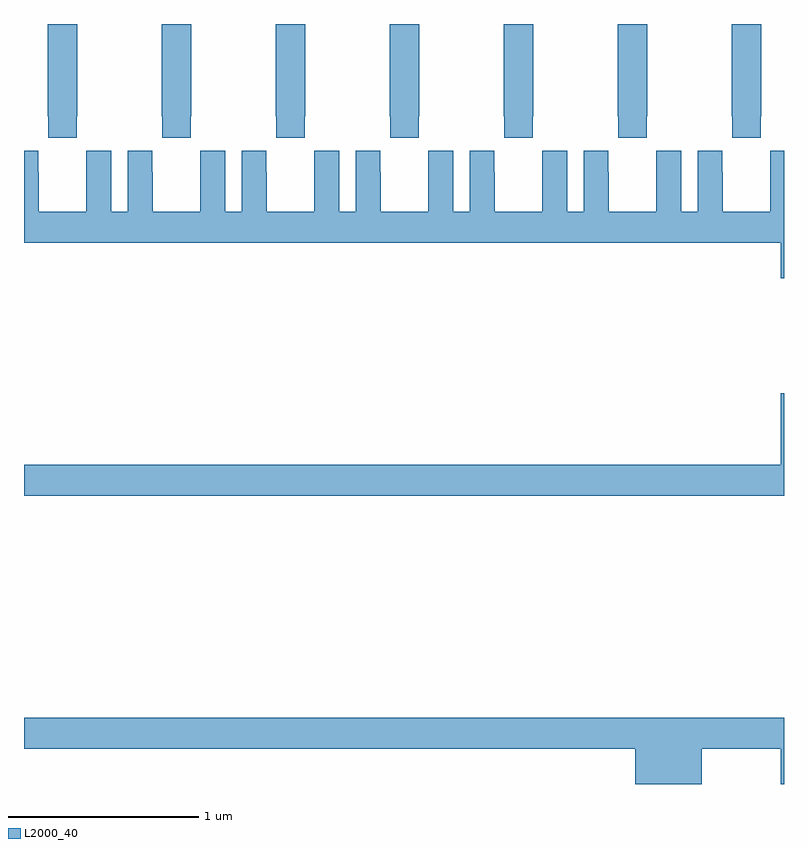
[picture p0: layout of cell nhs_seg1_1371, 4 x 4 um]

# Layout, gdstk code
import gdstk
lib = gdstk.Library(unit=1e-6, precision=1e-09)
def P(c, l, *ps):  # polygons
    for p in ps: c.add(gdstk.Polygon(p, *l))
L2000_40 = (2000, 40)

nhs_seg1_1371 = lib.new_cell('nhs_seg1_1371')
P(nhs_seg1_1371, L2000_40, [(188.877,569.713),(188.88,569.713),(188.88,570.199),(188.725,570.199),(188.725,569.713),(188.727,569.713),(188.727,569.601),(188.877,569.601)],
  [(188.277,569.713),(188.28,569.713),(188.28,570.199),(188.125,570.199),(188.125,569.713),(188.127,569.713),(188.127,569.601),(188.277,569.601)],
  [(185.277,569.713),(185.28,569.713),(185.28,570.199),(185.125,570.199),(185.125,569.713),(185.127,569.713),(185.127,569.601),(185.277,569.601)],
  [(185.877,569.713),(185.88,569.713),(185.88,570.199),(185.725,570.199),(185.725,569.713),(185.727,569.713),(185.727,569.601),(185.877,569.601)],
  [(186.477,569.713),(186.48,569.713),(186.48,570.199),(186.325,570.199),(186.325,569.713),(186.327,569.713),(186.327,569.601),(186.477,569.601)],
  [(187.677,569.713),(187.68,569.713),(187.68,570.199),(187.525,570.199),(187.525,569.713),(187.527,569.713),(187.527,569.601),(187.677,569.601)],
  [(187.077,569.713),(187.08,569.713),(187.08,570.199),(186.925,570.199),(186.925,569.713),(186.927,569.713),(186.927,569.601),(187.077,569.601)],
  [(187.946,569.533),(187.946,569.212),(187.858,569.212),(187.858,569.533),(187.728,569.533),(187.728,569.42),(187.727,569.42),(187.727,569.212),(187.477,569.212),(187.477,569.42),(187.476,569.42),(187.476,569.533),(187.346,569.533),(187.346,569.212),(187.258,569.212),(187.258,569.533),(187.128,569.533),(187.128,569.42),(187.127,569.42),(187.127,569.212),(186.877,569.212),(186.877,569.42),(186.876,569.42),(186.876,569.533),(186.746,569.533),(186.746,569.212),(186.658,569.212),(186.658,569.533),(186.528,569.533),(186.528,569.42),(186.527,569.42),(186.527,569.212),(186.277,569.212),(186.277,569.42),(186.276,569.42),(186.276,569.533),(186.146,569.533),(186.146,569.212),(186.058,569.212),(186.058,569.533),(185.928,569.533),(185.928,569.42),(185.927,569.42),(185.927,569.212),(185.677,569.212),(185.677,569.42),(185.676,569.42),(185.676,569.533),(185.546,569.533),(185.546,569.212),(185.458,569.212),(185.458,569.533),(185.328,569.533),(185.328,569.42),(185.327,569.42),(185.327,569.212),(185.077,569.212),(185.077,569.42),(185.076,569.42),(185.076,569.533),(185,569.533),(185,569.048),(188.984,569.048),(188.984,568.86),(189,568.86),(189,569.533),(188.928,569.533),(188.928,569.42),(188.927,569.42),(188.927,569.212),(188.677,569.212),(188.677,569.42),(188.676,569.42),(188.676,569.533),(188.546,569.533),(188.546,569.212),(188.458,569.212),(188.458,569.533),(188.328,569.533),(188.328,569.42),(188.327,569.42),(188.327,569.212),(188.077,569.212),(188.077,569.42),(188.076,569.42),(188.076,569.533)],
  [(189,568.255),(188.984,568.255),(188.984,567.88),(185,567.88),(185,567.716),(189,567.716)],
  [(188.566,566.384),(188.984,566.384),(188.984,566.199),(189,566.199),(189,566.548),(185,566.548),(185,566.384),(188.216,566.384),(188.216,566.199),(188.566,566.199)])

lib.write_gds('nhs_seg1_1371.gds')
